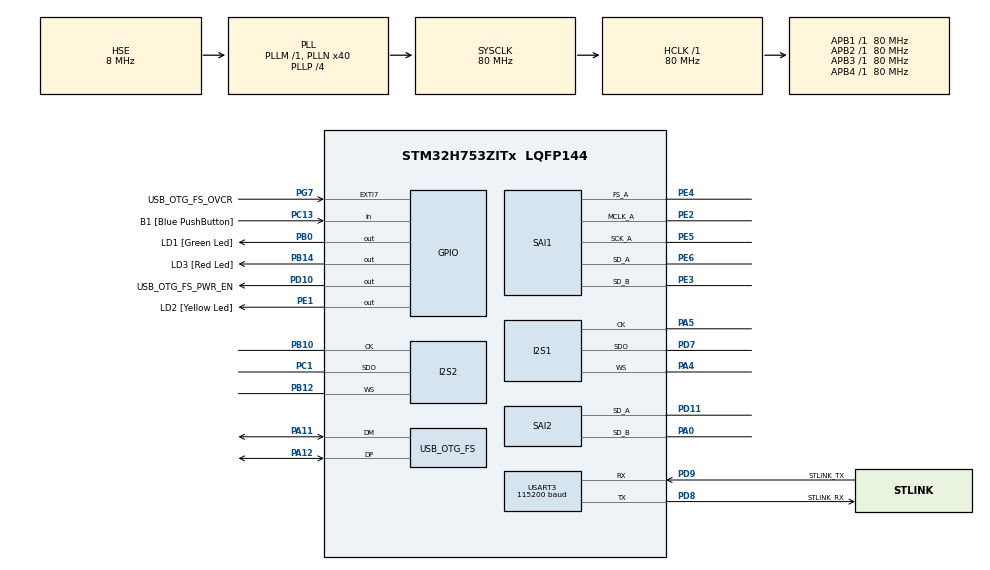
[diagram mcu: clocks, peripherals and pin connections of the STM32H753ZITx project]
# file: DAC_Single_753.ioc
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CORTEX_M7.CPU_DCache=Disabled
CORTEX_M7.CPU_ICache=Disabled
CORTEX_M7.MPU_Control=__NULL
Dma.Request0=SAI1_A
Dma.Request1=SAI1_B
Dma.Request2=SAI2_A
Dma.Request3=SAI2_B
Dma.SAI1_A.0.Direction=DMA_MEMORY_TO_PERIPH
Dma.SAI1_A.0.EventEnable=DISABLE
Dma.SAI1_A.0.FIFOMode=DMA_FIFOMODE_DISABLE
Dma.SAI1_A.0.Instance=DMA1_Stream0
Dma.SAI1_A.0.MemDataAlignment=DMA_MDATAALIGN_WORD
Dma.SAI1_A.0.MemInc=DMA_MINC_ENABLE
Dma.SAI1_A.0.Mode=DMA_CIRCULAR
Dma.SAI1_A.0.PeriphDataAlignment=DMA_PDATAALIGN_WORD
Dma.SAI1_A.0.PeriphInc=DMA_PINC_DISABLE
Dma.SAI1_A.0.Polarity=HAL_DMAMUX_REQ_GEN_RISING
Dma.SAI1_A.0.Priority=DMA_PRIORITY_MEDIUM
Dma.SAI1_A.0.RequestNumber=1
Dma.SAI1_A.0.SignalID=NONE
Dma.SAI1_A.0.SyncEnable=DISABLE
Dma.SAI1_A.0.SyncPolarity=HAL_DMAMUX_SYNC_NO_EVENT
Dma.SAI1_A.0.SyncRequestNumber=1
Dma.SAI1_A.0.SyncSignalID=NONE
Dma.SAI1_B.1.Direction=DMA_MEMORY_TO_PERIPH
Dma.SAI1_B.1.EventEnable=DISABLE
Dma.SAI1_B.1.FIFOMode=DMA_FIFOMODE_DISABLE
Dma.SAI1_B.1.Instance=DMA1_Stream1
Dma.SAI1_B.1.MemDataAlignment=DMA_MDATAALIGN_WORD
Dma.SAI1_B.1.MemInc=DMA_MINC_ENABLE
Dma.SAI1_B.1.Mode=DMA_CIRCULAR
Dma.SAI1_B.1.PeriphDataAlignment=DMA_PDATAALIGN_WORD
Dma.SAI1_B.1.PeriphInc=DMA_PINC_DISABLE
Dma.SAI1_B.1.Polarity=HAL_DMAMUX_REQ_GEN_RISING
Dma.SAI1_B.1.Priority=DMA_PRIORITY_MEDIUM
Dma.SAI1_B.1.RequestNumber=1
Dma.SAI1_B.1.SignalID=NONE
Dma.SAI1_B.1.SyncEnable=DISABLE
Dma.SAI1_B.1.SyncPolarity=HAL_DMAMUX_SYNC_NO_EVENT
Dma.SAI1_B.1.SyncRequestNumber=1
Dma.SAI1_B.1.SyncSignalID=NONE
Dma.SAI2_A.2.Direction=DMA_MEMORY_TO_PERIPH
Dma.SAI2_A.2.EventEnable=DISABLE
Dma.SAI2_A.2.FIFOMode=DMA_FIFOMODE_DISABLE
Dma.SAI2_A.2.Instance=DMA1_Stream2
Dma.SAI2_A.2.MemDataAlignment=DMA_MDATAALIGN_WORD
Dma.SAI2_A.2.MemInc=DMA_MINC_ENABLE
Dma.SAI2_A.2.Mode=DMA_CIRCULAR
Dma.SAI2_A.2.PeriphDataAlignment=DMA_PDATAALIGN_WORD
Dma.SAI2_A.2.PeriphInc=DMA_PINC_DISABLE
Dma.SAI2_A.2.Polarity=HAL_DMAMUX_REQ_GEN_RISING
Dma.SAI2_A.2.Priority=DMA_PRIORITY_HIGH
Dma.SAI2_A.2.RequestNumber=1
Dma.SAI2_A.2.SignalID=NONE
Dma.SAI2_A.2.SyncEnable=DISABLE
Dma.SAI2_A.2.SyncPolarity=HAL_DMAMUX_SYNC_NO_EVENT
Dma.SAI2_A.2.SyncRequestNumber=1
Dma.SAI2_A.2.SyncSignalID=NONE
Dma.SAI2_B.3.Direction=DMA_MEMORY_TO_PERIPH
Dma.SAI2_B.3.EventEnable=DISABLE
Dma.SAI2_B.3.FIFOMode=DMA_FIFOMODE_DISABLE
Dma.SAI2_B.3.Instance=DMA1_Stream3
Dma.SAI2_B.3.MemDataAlignment=DMA_MDATAALIGN_WORD
Dma.SAI2_B.3.MemInc=DMA_MINC_ENABLE
Dma.SAI2_B.3.Mode=DMA_CIRCULAR
Dma.SAI2_B.3.PeriphDataAlignment=DMA_PDATAALIGN_WORD
Dma.SAI2_B.3.PeriphInc=DMA_PINC_DISABLE
Dma.SAI2_B.3.Polarity=HAL_DMAMUX_REQ_GEN_RISING
Dma.SAI2_B.3.Priority=DMA_PRIORITY_HIGH
Dma.SAI2_B.3.RequestNumber=1
Dma.SAI2_B.3.SignalID=NONE
Dma.SAI2_B.3.SyncEnable=DISABLE
Dma.SAI2_B.3.SyncPolarity=HAL_DMAMUX_SYNC_NO_EVENT
Dma.SAI2_B.3.SyncRequestNumber=1
Dma.SAI2_B.3.SyncSignalID=NONE
I2S1.DataFormat=I2S_DATAFORMAT_32B
I2S1.ErrorAudioFreq=0.0 %
I2S1.Instance=SPI$Index
I2S1.RealAudioFreq=8.0 KHz
I2S2.DataFormat=I2S_DATAFORMAT_32B
I2S2.ErrorAudioFreq=0.0 %
I2S2.Instance=SPI$Index
I2S2.RealAudioFreq=8.0 KHz
Mcu.Family=STM32H7
Mcu.Name=STM32H753ZITx
Mcu.Package=LQFP144
NVIC.DMA1_Stream0_IRQn=true\:0\:0\:false\:false\:true\:false\:true\:true
NVIC.DMA1_Stream1_IRQn=true\:0\:0\:false\:false\:true\:false\:true\:true
NVIC.DMA1_Stream2_IRQn=true\:0\:0\:false\:false\:true\:false\:true\:true
NVIC.DMA1_Stream3_IRQn=true\:0\:0\:false\:false\:true\:false\:true\:true
NVIC.OTG_FS_IRQn=true\:0\:0\:false\:false\:true\:false\:true\:true
NVIC.PriorityGroup=NVIC_PRIORITYGROUP_4
PA0.GPIO_PuPd=GPIO_PULLUP
PA0.GPIO_Speed=GPIO_SPEED_FREQ_MEDIUM
PA0.Mode=SAI_B_SyncSlave
PA0.Signal=SAI2_SD_B
PA11.Mode=Device_Only
PA11.Signal=USB_OTG_FS_DM
PA12.Mode=Device_Only
PA12.Signal=USB_OTG_FS_DP
PA4.Mode=Half_Duplex_Master_Tx
PA4.Signal=I2S1_WS
PA5.Mode=Half_Duplex_Master_Tx
PA5.Signal=I2S1_CK
PB0.GPIO_Label=LD1 [Green Led]
PB0.Signal=GPIO_Output
PB10.Mode=Half_Duplex_Slave_Tx
PB10.Signal=I2S2_CK
PB12.Mode=Half_Duplex_Slave_Tx
PB12.Signal=I2S2_WS
PB14.GPIO_Label=LD3 [Red Led]
PB14.Signal=GPIO_Output
PC1.Mode=Half_Duplex_Slave_Tx
PC1.Signal=I2S2_SDO
PC13.GPIO_Label=B1 [Blue PushButton]
PC13.Signal=GPIO_Input
PC14-OSC32_IN\ (OSC32_IN).Mode=LSE-External-Oscillator
PC14-OSC32_IN\ (OSC32_IN).Signal=RCC_OSC32_IN
PC15-OSC32_OUT\ (OSC32_OUT).Mode=LSE-External-Oscillator
PC15-OSC32_OUT\ (OSC32_OUT).Signal=RCC_OSC32_OUT
PD10.GPIO_Label=USB_OTG_FS_PWR_EN
PD10.Signal=GPIO_Output
PD11.GPIO_PuPd=GPIO_PULLUP
PD11.GPIO_Speed=GPIO_SPEED_FREQ_MEDIUM
PD11.Mode=SAI_A_SyncSlave
PD11.Signal=SAI2_SD_A
PD7.Mode=Half_Duplex_Master_Tx
PD7.Signal=I2S1_SDO
PD8.GPIO_Label=STLINK_RX
PD8.Mode=Asynchronous
PD8.Signal=USART3_TX
PD9.GPIO_Label=STLINK_TX
PD9.Mode=Asynchronous
PD9.Signal=USART3_RX
PE1.GPIO_Label=LD2 [Yellow Led]
PE1.Signal=GPIO_Output
PE2.GPIO_PuPd=GPIO_PULLUP
PE2.GPIO_Speed=GPIO_SPEED_FREQ_MEDIUM
PE2.Mode=SAI_A_MasterWithClock
PE2.Signal=SAI1_MCLK_A
PE3.GPIO_PuPd=GPIO_PULLUP
PE3.GPIO_Speed=GPIO_SPEED_FREQ_MEDIUM
PE3.Mode=SAI_B_SyncSlave
PE3.Signal=SAI1_SD_B
PE4.GPIO_PuPd=GPIO_PULLUP
PE4.GPIO_Speed=GPIO_SPEED_FREQ_MEDIUM
PE4.Mode=SAI_A_MasterWithClock
PE4.Signal=SAI1_FS_A
PE5.GPIO_PuPd=GPIO_PULLUP
PE5.GPIO_Speed=GPIO_SPEED_FREQ_MEDIUM
PE5.Mode=SAI_A_MasterWithClock
PE5.Signal=SAI1_SCK_A
PE6.GPIO_PuPd=GPIO_PULLUP
PE6.GPIO_Speed=GPIO_SPEED_FREQ_HIGH
PE6.Mode=SAI_A_MasterWithClock
PE6.Signal=SAI1_SD_A
PG7.GPIO_Label=USB_OTG_FS_OVCR
PG7.Signal=GPXTI7
PH0-OSC_IN\ (PH0).Mode=HSE-External-Clock-Source
PH0-OSC_IN\ (PH0).Signal=RCC_OSC_IN
PH1-OSC_OUT\ (PH1).Signal=RCC_OSC_OUT
ProjectManager.HeapSize=0x200
ProjectManager.StackSize=0x400
ProjectManager.TargetToolchain=STM32CubeIDE
RCC.ADCFreq_Value=31250000
RCC.APB1Freq_Value=80000000
RCC.APB2Freq_Value=80000000
RCC.APB3Freq_Value=80000000
RCC.APB4Freq_Value=80000000
RCC.CortexFreq_Value=80000000
RCC.DIVM1=1
RCC.DIVM2=2
RCC.DIVN1=40
RCC.DIVN2=125
RCC.DIVP1=4
RCC.DIVP2=16
RCC.DIVQ1=5
RCC.DIVQ2=8
RCC.HCLKFreq_Value=80000000
RCC.HSE_VALUE=8000000
RCC.PLLFRACN=0
RCC.PWR_Regulator_Voltage_Scale=PWR_REGULATOR_VOLTAGE_SCALE2
RCC.SAI1CLockSelection=RCC_SAI1CLKSOURCE_PLL2
RCC.SAI23CLockSelection=RCC_SAI23CLKSOURCE_PLL2
RCC.SAI4ACLockSelection=RCC_SAI4ACLKSOURCE_PLL2
RCC.SAI4BCLockSelection=RCC_SAI4BCLKSOURCE_PLL2
RCC.SYSCLKFreq_VALUE=80000000
RCC.SYSCLKSource=RCC_SYSCLKSOURCE_PLLCLK
RCC.USART234578CLockSelection=RCC_USART234578CLKSOURCE_PLL2
RCC.USBFreq_Value=64000000
SAI1.AudioMode-SAI_B_SyncSlave=SAI_MODESLAVE_TX
SAI1.BasicDataSize-SAI_A_MasterWithClock=SAI_PROTOCOL_DATASIZE_32BIT
SAI1.BasicDataSize-SAI_B_SyncSlave=SAI_PROTOCOL_DATASIZE_32BIT
SAI1.ErrorAudioFreq-SAI_A_MasterWithClock=-36.42 %
SAI1.InitProtocol-SAI_A_MasterWithClock=Enable
SAI1.InitProtocol-SAI_B_SyncSlave=Enable
SAI1.Instance-SAI_A_MasterWithClock=SAI$Index_Block_A
SAI1.Instance-SAI_B_SyncSlave=SAI$Index_Block_B
SAI1.MClockEnable-SAI_A_MasterWithClock=SAI_MASTERCLOCK_ENABLE
SAI1.RealAudioFreq-SAI_A_MasterWithClock=122.07 KHz
SAI1.VirtualMode-SAI_A_MasterWithClock=VM_MASTER
SAI1.VirtualMode-SAI_B_SyncSlave=VM_SLAVE
SAI1.VirtualProtocol-SAI_A_BASIC=VM_BASIC_PROTOCOL
SAI1.VirtualProtocol-SAI_B_BASIC=VM_BASIC_PROTOCOL
SAI2.AudioMode-SAI_A_SyncSlave=SAI_MODESLAVE_TX
SAI2.AudioMode-SAI_B_SyncSlave=SAI_MODESLAVE_TX
SAI2.BasicDataSize-SAI_A_SyncSlave=SAI_PROTOCOL_DATASIZE_32BIT
SAI2.BasicDataSize-SAI_B_SyncSlave=SAI_PROTOCOL_DATASIZE_32BIT
SAI2.InitProtocol-SAI_A_SyncSlave=Enable
SAI2.InitProtocol-SAI_B_SyncSlave=Enable
SAI2.Instance-SAI_A_SyncSlave=SAI$Index_Block_A
SAI2.Instance-SAI_B_SyncSlave=SAI$Index_Block_B
SAI2.Synchro_A=SAI_SYNCHRONOUS_EXT_SAI1
SAI2.Synchro_B=SAI_SYNCHRONOUS_EXT_SAI1
SAI2.VirtualMode-SAI_A_SyncSlave=VM_SLAVE
SAI2.VirtualMode-SAI_B_SyncSlave=VM_SLAVE
SAI2.VirtualProtocol-SAI_A_BASIC=VM_BASIC_PROTOCOL
SAI2.VirtualProtocol-SAI_B_BASIC=VM_BASIC_PROTOCOL
USART3.AutoBaudRateEnableParam=UART_ADVFEATURE_AUTOBAUDRATE_DISABLE
USART3.BaudRate=115200
USART3.ClockPrescaler=PRESCALER_DIV1
USART3.DMADisableonRxErrorParam=ADVFEATURE_DMA_ENABLEONRXERROR
USART3.DataInvertParam=ADVFEATURE_DATAINV_DISABLE
USART3.FIFOMode=FIFOMODE_DISABLE
USART3.MSBFirstParam=ADVFEATURE_MSBFIRST_DISABLE
USART3.Mode=MODE_TX_RX
USART3.OneBitSampling=UART_ONE_BIT_SAMPLE_DISABLE
USART3.OverSampling=UART_OVERSAMPLING_16
USART3.OverrunDisableParam=ADVFEATURE_OVERRUN_ENABLE
USART3.Parity=PARITY_NONE
USART3.RXFIFOThreshold=RXFIFO_THRESHOLD_1EIGHTHFULL
USART3.RxPinLevelInvertParam=ADVFEATURE_RXINV_DISABLE
USART3.StopBits=STOPBITS_1
USART3.SwapParam=ADVFEATURE_SWAP_DISABLE
USART3.TXFIFOThreshold=TXFIFO_THRESHOLD_1EIGHTHFULL
USART3.TxPinLevelInvertParam=ADVFEATURE_TXINV_DISABLE
USART3.VirtualMode-Asynchronous=VM_ASYNC
USART3.WordLength=WORDLENGTH_8B
USB_DEVICE.CLASS_NAME_FS=AUDIO
USB_DEVICE.USBD_AUDIO_FREQ-AUDIO_FS=48000
USB_DEVICE.VirtualMode-AUDIO_FS=Audio
USB_DEVICE.VirtualModeFS=Audio_FS
USB_OTG_FS.Sof_enable=ENABLE
USB_OTG_FS.VirtualMode=Device_Only
USB_OTG_FS.battery_charging_enable=ENABLE
USB_OTG_FS.low_power_enable=DISABLE
USB_OTG_FS.lpm_enable=DISABLE
USB_OTG_FS.use_dedicated_ep1=DISABLE
USB_OTG_FS.vbus_sensing_enable=DISABLE
VP_MEMORYMAP_VS_MEMORYMAP.Mode=CurAppReg
VP_SAI1_VP_$IpInstance_SAIA_SAI_BASIC.Mode=SAI_A_BASIC
VP_SAI1_VP_$IpInstance_SAIB_SAI_BASIC.Mode=SAI_B_BASIC
VP_SAI1_VP_$IpInstance_SYNCHRO_EXTERNAL.Mode=SynchroExternal
VP_SAI2_VP_$IpInstance_SAIA_SAI_BASIC.Mode=SAI_A_BASIC
VP_SAI2_VP_$IpInstance_SAIB_SAI_BASIC.Mode=SAI_B_BASIC
VP_USB_DEVICE_VS_USB_DEVICE_AUDIO_FS.Mode=AUDIO_FS
board=NUCLEO-H753ZI

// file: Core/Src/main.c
/* USER CODE BEGIN Header */
/**
  ******************************************************************************
  * @file           : main.c
  * @brief          : Main program body
  ******************************************************************************
  * @attention
  *
  * Copyright (c) 2025 STMicroelectronics.
  * All rights reserved.
  *
  * This software is licensed under terms that can be found in the LICENSE file
  * in the root directory of this software component.
  * If no LICENSE file comes with this software, it is provided AS-IS.
  *
  ******************************************************************************
  */
/* USER CODE END Header */
#include "main.h"
#include "usb_device.h"

/* USER CODE BEGIN Includes */
#include <stdint.h>

/* USER CODE END Includes */

/* USER CODE BEGIN PD */
#define AUDIO_BUFFER_SIZE 512
/* USER CODE END PD */

I2S_HandleTypeDef hi2s1;
I2S_HandleTypeDef hi2s2;

SAI_HandleTypeDef hsai_BlockA1;
SAI_HandleTypeDef hsai_BlockB1;
SAI_HandleTypeDef hsai_BlockA2;
SAI_HandleTypeDef hsai_BlockB2;
DMA_HandleTypeDef hdma_sai1_a;
DMA_HandleTypeDef hdma_sai1_b;
DMA_HandleTypeDef hdma_sai2_a;
DMA_HandleTypeDef hdma_sai2_b;

UART_HandleTypeDef huart3;

void SystemClock_Config(void);
void PeriphCommonClock_Config(void);
static void MX_GPIO_Init(void);
static void MX_DMA_Init(void);
static void MX_USART3_UART_Init(void);
static void MX_SAI1_Init(void);
static void MX_I2S1_Init(void);
static void MX_I2S2_Init(void);
static void MX_SAI2_Init(void);

int main(void)
{

  /* MCU Configuration--------------------------------------------------------*/

  /* Reset of all peripherals, Initializes the Flash interface and the Systick. */
  HAL_Init();

  /* Configure the system clock */
  SystemClock_Config();

  /* Configure the peripherals common clocks */
  PeriphCommonClock_Config();

  /* Initialize all configured peripherals */
  MX_GPIO_Init();
  MX_DMA_Init();
  MX_USART3_UART_Init();
  MX_SAI1_Init();
  MX_USB_DEVICE_Init();
  MX_I2S1_Init();
  MX_I2S2_Init();
  MX_SAI2_Init();
  /* USER CODE BEGIN 2 */

  /*THE MX_SAI1_INIT() function has been modified so that the output sync signal from block (A)
  SAI1 is enabled. The signal is then picked up by SAI2 as the sync signal.
  */

  uint32_t playbuf[AUDIO_BUFFER_SIZE]; //256 sample, 2-channel buffer
  uint32_t sheesh[AUDIO_BUFFER_SIZE] = {0};
  uint32_t playbuf2[AUDIO_BUFFER_SIZE]; //256 sample, 2-channel buffer

  for (int i = 0; i < AUDIO_BUFFER_SIZE; i++) {
        //playbuf[i] = (int32_t)(2147483647 * sin(M_PI * i / 256));  // Generate sine wave
        playbuf[i] = (int32_t) i;  // count
        playbuf2[i] = (int32_t) i;  // count

    }

  void transmitAudioData(SAI_HandleTypeDef *hsai, uint32_t *data){
	    if (HAL_SAI_Transmit_DMA(hsai, (uint8_t*) data, AUDIO_BUFFER_SIZE) != HAL_OK)
	    {
	        Error_Handler();
	    }
  }

  transmitAudioData(&hsai_BlockA2, playbuf2);
  transmitAudioData(&hsai_BlockB2, playbuf2);
  transmitAudioData(&hsai_BlockB1, playbuf);
  transmitAudioData(&hsai_BlockA1, playbuf); // call master block last for proper synchronization

  /* USER CODE END 2 */

  /* Infinite loop */
  while (1)
  {

  }
}

void SystemClock_Config(void)
{
  RCC_OscInitTypeDef RCC_OscInitStruct = {0};
  RCC_ClkInitTypeDef RCC_ClkInitStruct = {0};

  /** Supply configuration update enable
  */
  HAL_PWREx_ConfigSupply(PWR_LDO_SUPPLY);

  /** Configure the main internal regulator output voltage
  */
  __HAL_PWR_VOLTAGESCALING_CONFIG(PWR_REGULATOR_VOLTAGE_SCALE2);

  while(!__HAL_PWR_GET_FLAG(PWR_FLAG_VOSRDY)) {}

  /** Initializes the RCC Oscillators according to the specified parameters
  * in the RCC_OscInitTypeDef structure.
  */
  RCC_OscInitStruct.OscillatorType = RCC_OSCILLATORTYPE_HSE;
  RCC_OscInitStruct.HSEState = RCC_HSE_BYPASS;
  RCC_OscInitStruct.PLL.PLLState = RCC_PLL_ON;
  RCC_OscInitStruct.PLL.PLLSource = RCC_PLLSOURCE_HSE;
  RCC_OscInitStruct.PLL.PLLM = 1;
  RCC_OscInitStruct.PLL.PLLN = 40;
  RCC_OscInitStruct.PLL.PLLP = 4;
  RCC_OscInitStruct.PLL.PLLQ = 5;
  RCC_OscInitStruct.PLL.PLLR = 2;
  RCC_OscInitStruct.PLL.PLLRGE = RCC_PLL1VCIRANGE_3;
  RCC_OscInitStruct.PLL.PLLVCOSEL = RCC_PLL1VCOWIDE;
  RCC_OscInitStruct.PLL.PLLFRACN = 0;
  if (HAL_RCC_OscConfig(&RCC_OscInitStruct) != HAL_OK)
  {
    Error_Handler();
  }

  /** Initializes the CPU, AHB and APB buses clocks
  */
  RCC_ClkInitStruct.ClockType = RCC_CLOCKTYPE_HCLK|RCC_CLOCKTYPE_SYSCLK
                              |RCC_CLOCKTYPE_PCLK1|RCC_CLOCKTYPE_PCLK2
                              |RCC_CLOCKTYPE_D3PCLK1|RCC_CLOCKTYPE_D1PCLK1;
  RCC_ClkInitStruct.SYSCLKSource = RCC_SYSCLKSOURCE_PLLCLK;
  RCC_ClkInitStruct.SYSCLKDivider = RCC_SYSCLK_DIV1;
  RCC_ClkInitStruct.AHBCLKDivider = RCC_HCLK_DIV1;
  RCC_ClkInitStruct.APB3CLKDivider = RCC_APB3_DIV1;
  RCC_ClkInitStruct.APB1CLKDivider = RCC_APB1_DIV1;
  RCC_ClkInitStruct.APB2CLKDivider = RCC_APB2_DIV1;
  RCC_ClkInitStruct.APB4CLKDivider = RCC_APB4_DIV1;

  if (HAL_RCC_ClockConfig(&RCC_ClkInitStruct, FLASH_LATENCY_1) != HAL_OK)
  {
    Error_Handler();
  }
}

void PeriphCommonClock_Config(void)
{
  RCC_PeriphCLKInitTypeDef PeriphClkInitStruct = {0};

  /** Initializes the peripherals clock
  */
  PeriphClkInitStruct.PeriphClockSelection = RCC_PERIPHCLK_SAI1|RCC_PERIPHCLK_SAI2
                              |RCC_PERIPHCLK_USART3;
  PeriphClkInitStruct.PLL2.PLL2M = 2;
  PeriphClkInitStruct.PLL2.PLL2N = 125;
  PeriphClkInitStruct.PLL2.PLL2P = 16;
  PeriphClkInitStruct.PLL2.PLL2Q = 8;
  PeriphClkInitStruct.PLL2.PLL2R = 2;
  PeriphClkInitStruct.PLL2.PLL2RGE = RCC_PLL2VCIRANGE_2;
  PeriphClkInitStruct.PLL2.PLL2VCOSEL = RCC_PLL2VCOWIDE;
  PeriphClkInitStruct.PLL2.PLL2FRACN = 0;
  PeriphClkInitStruct.Sai1ClockSelection = RCC_SAI1CLKSOURCE_PLL2;
  PeriphClkInitStruct.Sai23ClockSelection = RCC_SAI23CLKSOURCE_PLL2;
  PeriphClkInitStruct.Usart234578ClockSelection = RCC_USART234578CLKSOURCE_PLL2;
  if (HAL_RCCEx_PeriphCLKConfig(&PeriphClkInitStruct) != HAL_OK)
  {
    Error_Handler();
  }
}

static void MX_I2S1_Init(void)
{

  hi2s1.Instance = SPI1;
  hi2s1.Init.Mode = I2S_MODE_MASTER_TX;
  hi2s1.Init.Standard = I2S_STANDARD_PHILIPS;
  hi2s1.Init.DataFormat = I2S_DATAFORMAT_32B;
  hi2s1.Init.MCLKOutput = I2S_MCLKOUTPUT_DISABLE;
  hi2s1.Init.AudioFreq = I2S_AUDIOFREQ_8K;
  hi2s1.Init.CPOL = I2S_CPOL_LOW;
  hi2s1.Init.FirstBit = I2S_FIRSTBIT_MSB;
  hi2s1.Init.WSInversion = I2S_WS_INVERSION_DISABLE;
  hi2s1.Init.Data24BitAlignment = I2S_DATA_24BIT_ALIGNMENT_RIGHT;
  hi2s1.Init.MasterKeepIOState = I2S_MASTER_KEEP_IO_STATE_DISABLE;
  if (HAL_I2S_Init(&hi2s1) != HAL_OK)
  {
    Error_Handler();
  }

}

static void MX_I2S2_Init(void)
{

  hi2s2.Instance = SPI2;
  hi2s2.Init.Mode = I2S_MODE_SLAVE_TX;
  hi2s2.Init.Standard = I2S_STANDARD_PHILIPS;
  hi2s2.Init.DataFormat = I2S_DATAFORMAT_32B;
  hi2s2.Init.MCLKOutput = I2S_MCLKOUTPUT_DISABLE;
  hi2s2.Init.AudioFreq = I2S_AUDIOFREQ_8K;
  hi2s2.Init.CPOL = I2S_CPOL_LOW;
  hi2s2.Init.FirstBit = I2S_FIRSTBIT_MSB;
  hi2s2.Init.WSInversion = I2S_WS_INVERSION_DISABLE;
  hi2s2.Init.Data24BitAlignment = I2S_DATA_24BIT_ALIGNMENT_RIGHT;
  hi2s2.Init.MasterKeepIOState = I2S_MASTER_KEEP_IO_STATE_DISABLE;
  if (HAL_I2S_Init(&hi2s2) != HAL_OK)
  {
    Error_Handler();
  }

}

static void MX_SAI1_Init(void)
{

  hsai_BlockA1.Instance = SAI1_Block_A;
  hsai_BlockA1.Init.AudioMode = SAI_MODEMASTER_TX;
  hsai_BlockA1.Init.Synchro = SAI_ASYNCHRONOUS;
  hsai_BlockA1.Init.OutputDrive = SAI_OUTPUTDRIVE_DISABLE;
  hsai_BlockA1.Init.NoDivider = SAI_MASTERDIVIDER_ENABLE;
  hsai_BlockA1.Init.FIFOThreshold = SAI_FIFOTHRESHOLD_EMPTY;
  hsai_BlockA1.Init.AudioFrequency = SAI_AUDIO_FREQUENCY_192K;
  hsai_BlockA1.Init.SynchroExt = SAI_SYNCEXT_DISABLE;
  hsai_BlockA1.Init.MonoStereoMode = SAI_STEREOMODE;
  hsai_BlockA1.Init.CompandingMode = SAI_NOCOMPANDING;
  hsai_BlockA1.Init.TriState = SAI_OUTPUT_NOTRELEASED;
  if (HAL_SAI_InitProtocol(&hsai_BlockA1, SAI_I2S_STANDARD, SAI_PROTOCOL_DATASIZE_32BIT, 2) != HAL_OK)
  {
    Error_Handler();
  }
  hsai_BlockB1.Instance = SAI1_Block_B;
  hsai_BlockB1.Init.AudioMode = SAI_MODESLAVE_TX;
  hsai_BlockB1.Init.Synchro = SAI_SYNCHRONOUS;
  hsai_BlockB1.Init.OutputDrive = SAI_OUTPUTDRIVE_DISABLE;
  hsai_BlockB1.Init.FIFOThreshold = SAI_FIFOTHRESHOLD_EMPTY;
  hsai_BlockB1.Init.SynchroExt = SAI_SYNCEXT_DISABLE;
  hsai_BlockB1.Init.MonoStereoMode = SAI_STEREOMODE;
  hsai_BlockB1.Init.CompandingMode = SAI_NOCOMPANDING;
  hsai_BlockB1.Init.TriState = SAI_OUTPUT_NOTRELEASED;
  if (HAL_SAI_InitProtocol(&hsai_BlockB1, SAI_I2S_STANDARD, SAI_PROTOCOL_DATASIZE_32BIT, 2) != HAL_OK)
  {
    Error_Handler();
  }
  /* USER CODE BEGIN SAI1_Init 2 */
  hsai_BlockA1.Init.SynchroExt = SAI_SYNCEXT_OUTBLOCKA_ENABLE; //SET BLOCK A TO
  if (HAL_SAI_InitProtocol(&hsai_BlockA1, SAI_I2S_STANDARD, SAI_PROTOCOL_DATASIZE_32BIT, 2) != HAL_OK)
  {
    Error_Handler();
  }

  /* USER CODE END SAI1_Init 2 */

}

static void MX_SAI2_Init(void)
{

  hsai_BlockA2.Instance = SAI2_Block_A;
  hsai_BlockA2.Init.AudioMode = SAI_MODESLAVE_TX;
  hsai_BlockA2.Init.Synchro = SAI_SYNCHRONOUS_EXT_SAI1;
  hsai_BlockA2.Init.OutputDrive = SAI_OUTPUTDRIVE_DISABLE;
  hsai_BlockA2.Init.FIFOThreshold = SAI_FIFOTHRESHOLD_EMPTY;
  hsai_BlockA2.Init.MonoStereoMode = SAI_STEREOMODE;
  hsai_BlockA2.Init.CompandingMode = SAI_NOCOMPANDING;
  hsai_BlockA2.Init.TriState = SAI_OUTPUT_NOTRELEASED;
  if (HAL_SAI_InitProtocol(&hsai_BlockA2, SAI_I2S_STANDARD, SAI_PROTOCOL_DATASIZE_32BIT, 2) != HAL_OK)
  {
    Error_Handler();
  }
  hsai_BlockB2.Instance = SAI2_Block_B;
  hsai_BlockB2.Init.AudioMode = SAI_MODESLAVE_TX;
  hsai_BlockB2.Init.Synchro = SAI_SYNCHRONOUS_EXT_SAI1;
  hsai_BlockB2.Init.OutputDrive = SAI_OUTPUTDRIVE_DISABLE;
  hsai_BlockB2.Init.FIFOThreshold = SAI_FIFOTHRESHOLD_EMPTY;
  hsai_BlockB2.Init.MonoStereoMode = SAI_STEREOMODE;
  hsai_BlockB2.Init.CompandingMode = SAI_NOCOMPANDING;
  hsai_BlockB2.Init.TriState = SAI_OUTPUT_NOTRELEASED;
  if (HAL_SAI_InitProtocol(&hsai_BlockB2, SAI_I2S_STANDARD, SAI_PROTOCOL_DATASIZE_32BIT, 2) != HAL_OK)
  {
    Error_Handler();
  }

}

static void MX_USART3_UART_Init(void)
{

  huart3.Instance = USART3;
  huart3.Init.BaudRate = 115200;
  huart3.Init.WordLength = UART_WORDLENGTH_8B;
  huart3.Init.StopBits = UART_STOPBITS_1;
  huart3.Init.Parity = UART_PARITY_NONE;
  huart3.Init.Mode = UART_MODE_TX_RX;
  huart3.Init.HwFlowCtl = UART_HWCONTROL_NONE;
  huart3.Init.OverSampling = UART_OVERSAMPLING_16;
  huart3.Init.OneBitSampling = UART_ONE_BIT_SAMPLE_DISABLE;
  huart3.Init.ClockPrescaler = UART_PRESCALER_DIV1;
  huart3.AdvancedInit.AdvFeatureInit = UART_ADVFEATURE_NO_INIT;
  if (HAL_UART_Init(&huart3) != HAL_OK)
  {
    Error_Handler();
  }
  if (HAL_UARTEx_SetTxFifoThreshold(&huart3, UART_TXFIFO_THRESHOLD_1_8) != HAL_OK)
  {
    Error_Handler();
  }
  if (HAL_UARTEx_SetRxFifoThreshold(&huart3, UART_RXFIFO_THRESHOLD_1_8) != HAL_OK)
  {
    Error_Handler();
  }
  if (HAL_UARTEx_DisableFifoMode(&huart3) != HAL_OK)
  {
    Error_Handler();
  }

}

static void MX_DMA_Init(void)
{

  /* DMA controller clock enable */
  __HAL_RCC_DMA1_CLK_ENABLE();

  /* DMA interrupt init */
  /* DMA1_Stream0_IRQn interrupt configuration */
  HAL_NVIC_SetPriority(DMA1_Stream0_IRQn, 0, 0);
  HAL_NVIC_EnableIRQ(DMA1_Stream0_IRQn);
  /* DMA1_Stream1_IRQn interrupt configuration */
  HAL_NVIC_SetPriority(DMA1_Stream1_IRQn, 0, 0);
  HAL_NVIC_EnableIRQ(DMA1_Stream1_IRQn);
  /* DMA1_Stream2_IRQn interrupt configuration */
  HAL_NVIC_SetPriority(DMA1_Stream2_IRQn, 0, 0);
  HAL_NVIC_EnableIRQ(DMA1_Stream2_IRQn);
  /* DMA1_Stream3_IRQn interrupt configuration */
  HAL_NVIC_SetPriority(DMA1_Stream3_IRQn, 0, 0);
  HAL_NVIC_EnableIRQ(DMA1_Stream3_IRQn);

}

static void MX_GPIO_Init(void)
{
  GPIO_InitTypeDef GPIO_InitStruct = {0};

  /* GPIO Ports Clock Enable */
  __HAL_RCC_GPIOE_CLK_ENABLE();
  __HAL_RCC_GPIOC_CLK_ENABLE();
  __HAL_RCC_GPIOH_CLK_ENABLE();
  __HAL_RCC_GPIOA_CLK_ENABLE();
  __HAL_RCC_GPIOB_CLK_ENABLE();
  __HAL_RCC_GPIOD_CLK_ENABLE();
  __HAL_RCC_GPIOG_CLK_ENABLE();

  /*Configure GPIO pin Output Level */
  HAL_GPIO_WritePin(GPIOB, LD1_Pin|LD3_Pin, GPIO_PIN_RESET);

  /*Configure GPIO pin Output Level */
  HAL_GPIO_WritePin(USB_OTG_FS_PWR_EN_GPIO_Port, USB_OTG_FS_PWR_EN_Pin, GPIO_PIN_RESET);

  /*Configure GPIO pin Output Level */
  HAL_GPIO_WritePin(LD2_GPIO_Port, LD2_Pin, GPIO_PIN_RESET);

  /*Configure GPIO pin : B1_Pin */
  GPIO_InitStruct.Pin = B1_Pin;
  GPIO_InitStruct.Mode = GPIO_MODE_INPUT;
  GPIO_InitStruct.Pull = GPIO_NOPULL;
  HAL_GPIO_Init(B1_GPIO_Port, &GPIO_InitStruct);

  /*Configure GPIO pins : LD1_Pin LD3_Pin */
  GPIO_InitStruct.Pin = LD1_Pin|LD3_Pin;
  GPIO_InitStruct.Mode = GPIO_MODE_OUTPUT_PP;
  GPIO_InitStruct.Pull = GPIO_NOPULL;
  GPIO_InitStruct.Speed = GPIO_SPEED_FREQ_LOW;
  HAL_GPIO_Init(GPIOB, &GPIO_InitStruct);

  /*Configure GPIO pin : USB_OTG_FS_PWR_EN_Pin */
  GPIO_InitStruct.Pin = USB_OTG_FS_PWR_EN_Pin;
  GPIO_InitStruct.Mode = GPIO_MODE_OUTPUT_PP;
  GPIO_InitStruct.Pull = GPIO_NOPULL;
  GPIO_InitStruct.Speed = GPIO_SPEED_FREQ_LOW;
  HAL_GPIO_Init(USB_OTG_FS_PWR_EN_GPIO_Port, &GPIO_InitStruct);

  /*Configure GPIO pin : USB_OTG_FS_OVCR_Pin */
  GPIO_InitStruct.Pin = USB_OTG_FS_OVCR_Pin;
  GPIO_InitStruct.Mode = GPIO_MODE_IT_RISING;
  GPIO_InitStruct.Pull = GPIO_NOPULL;
  HAL_GPIO_Init(USB_OTG_FS_OVCR_GPIO_Port, &GPIO_InitStruct);

  /*Configure GPIO pin : LD2_Pin */
  GPIO_InitStruct.Pin = LD2_Pin;
  GPIO_InitStruct.Mode = GPIO_MODE_OUTPUT_PP;
  GPIO_InitStruct.Pull = GPIO_NOPULL;
  GPIO_InitStruct.Speed = GPIO_SPEED_FREQ_LOW;
  HAL_GPIO_Init(LD2_GPIO_Port, &GPIO_InitStruct);

}

void Error_Handler(void)
{
  /* USER CODE BEGIN Error_Handler_Debug */
  /* User can add his own implementation to report the HAL error return state */
  __disable_irq();
  while (1)
  {
	  HAL_GPIO_WritePin(GPIOB, LD1_Pin, GPIO_PIN_SET);
  }
  /* USER CODE END Error_Handler_Debug */
}
